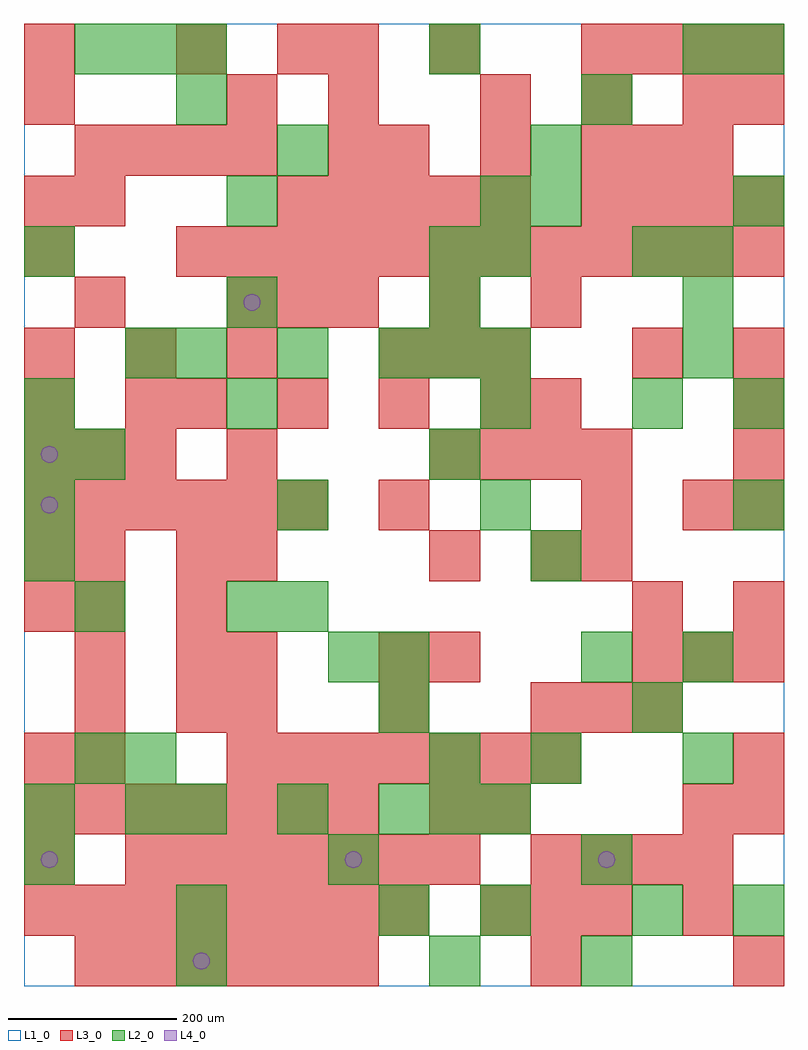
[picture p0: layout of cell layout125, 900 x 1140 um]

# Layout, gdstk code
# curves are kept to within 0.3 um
import gdstk
lib = gdstk.Library(unit=1e-6, precision=1e-09)
def R(c, l, rs):  # rectangles x0, y0, x1, y1
    for r in rs: c.add(gdstk.rectangle(r[:2], r[2:], *l))
def A(c, l, x, y, w, h, nx, ny, dx, dy):  # array of equal rectangles
    R(c, l, [(x+i*dx, y+j*dy, x+i*dx+w, y+j*dy+h) for i in range(nx) for j in range(ny)])
def P(c, l, *ps):  # polygons
    for p in ps: c.add(gdstk.Polygon(p, *l))
L1_0 = (1, 0)
L2_0 = (2, 0)
L3_0 = (3, 0)
L4_0 = (4, 0)

layout125 = lib.new_cell('layout125')
R(layout125, L1_0, [(0,0,900,1140)])
A(layout125, L2_0, 180, 180, 60, 60, 3, 2, 120, 540)
A(layout125, L2_0, 60, 240, 60, 60, 1, 3, 0, 180)
A(layout125, L2_0, 0, 480, 60, 60, 1, 4, 0, 60)
A(layout125, L2_0, 240, 660, 60, 60, 1, 3, 0, 120)
A(layout125, L2_0, 480, 720, 60, 60, 1, 3, 0, 60)
A(layout125, L2_0, 780, 720, 60, 60, 1, 3, 0, 60)
A(layout125, L2_0, 60, 1080, 60, 60, 3, 1, 60, 0)
R(layout125, L2_0, [(180,0,240,60), (480,0,540,60), (660,0,720,60), (180,60,240,120), (420,60,480,120), (540,60,600,120), (720,60,780,120), (840,60,900,120), (0,120,60,180), (360,120,420,180), (660,120,720,180), (0,180,60,240), (120,180,180,240), (480,180,540,240), (540,180,600,240), (120,240,180,300), (480,240,540,300), (600,240,660,300), (780,240,840,300), (420,300,480,360), (720,300,780,360), (360,360,420,420), (420,360,480,420), (660,360,720,420), (780,360,840,420), (240,420,300,480), (300,420,360,480), (600,480,660,540), (300,540,360,600), (540,540,600,600), (840,540,900,600), (480,600,540,660), (540,660,600,720), (720,660,780,720), (840,660,900,720), (120,720,180,780), (540,720,600,780), (0,840,60,900), (540,840,600,900), (720,840,780,900), (540,900,600,960), (600,900,660,960), (840,900,900,960), (300,960,360,1020), (600,960,660,1020), (180,1020,240,1080), (660,1020,720,1080), (480,1080,540,1140), (780,1080,840,1140), (840,1080,900,1140)])
A(layout125, L3_0, 60, 0, 60, 60, 6, 1, 60, 0)
A(layout125, L3_0, 0, 60, 60, 60, 8, 1, 60, 0)
A(layout125, L3_0, 540, 60, 60, 60, 3, 1, 60, 0)
A(layout125, L3_0, 120, 120, 60, 60, 7, 1, 60, 0)
A(layout125, L3_0, 600, 120, 60, 60, 4, 1, 60, 0)
A(layout125, L3_0, 0, 180, 60, 60, 7, 1, 60, 0)
A(layout125, L3_0, 60, 240, 60, 60, 1, 5, 0, 60)
A(layout125, L3_0, 240, 240, 60, 60, 7, 1, 60, 0)
A(layout125, L3_0, 180, 300, 60, 60, 1, 4, 0, 60)
A(layout125, L3_0, 240, 300, 60, 60, 3, 1, 180, 0)
A(layout125, L3_0, 240, 360, 60, 60, 1, 3, 0, 120)
A(layout125, L3_0, 720, 360, 60, 60, 3, 1, 60, 0)
A(layout125, L3_0, 0, 480, 60, 60, 1, 3, 0, 180)
A(layout125, L3_0, 480, 480, 60, 60, 1, 3, 0, 300)
A(layout125, L3_0, 0, 540, 60, 60, 6, 1, 60, 0)
A(layout125, L3_0, 840, 540, 60, 60, 1, 4, 0, 60)
A(layout125, L3_0, 0, 600, 60, 60, 3, 1, 60, 0)
A(layout125, L3_0, 480, 600, 60, 60, 4, 1, 60, 0)
A(layout125, L3_0, 180, 660, 60, 60, 4, 1, 120, 0)
A(layout125, L3_0, 0, 720, 60, 60, 3, 1, 120, 0)
A(layout125, L3_0, 420, 720, 60, 60, 3, 1, 60, 0)
A(layout125, L3_0, 240, 780, 60, 60, 3, 1, 60, 0)
A(layout125, L3_0, 180, 840, 60, 60, 12, 1, 60, 0)
A(layout125, L3_0, 300, 900, 60, 60, 5, 1, 60, 0)
A(layout125, L3_0, 660, 900, 60, 60, 4, 2, 60, 180)
A(layout125, L3_0, 60, 960, 60, 60, 4, 1, 60, 0)
A(layout125, L3_0, 360, 960, 60, 60, 1, 3, 0, 60)
A(layout125, L3_0, 420, 960, 60, 60, 3, 1, 120, 0)
A(layout125, L3_0, 540, 1020, 60, 60, 3, 1, 120, 0)
R(layout125, L3_0, [(600,0,660,60), (840,0,900,60), (780,60,840,120), (0,120,60,180), (480,180,540,240), (540,180,600,240), (780,180,840,240), (840,180,900,240), (0,240,60,300), (840,240,900,300), (660,300,720,360), (720,300,780,360), (420,360,480,420), (480,360,540,420), (0,420,60,480), (720,420,780,480), (840,420,900,480), (600,480,660,540), (660,480,720,540), (420,540,480,600), (660,540,720,600), (780,540,840,600), (120,660,180,720), (600,660,660,720), (720,720,780,780), (60,780,120,840), (600,780,660,840), (0,900,60,960), (60,900,120,960), (720,960,780,1020), (780,960,840,1020), (0,1020,60,1080), (240,1020,300,1080), (840,1020,900,1080), (0,1080,60,1140), (180,1080,240,1140), (300,1080,360,1140)])
P(layout125, L4_0, [(40,150),(39.239,153.827),(37.071,157.071),(33.827,159.239),(30,160),(26.173,159.239),(22.929,157.071),(20.761,153.827),(20,150),(20.761,146.173),(22.929,142.929),(26.173,140.761),(30,140),(33.827,140.761),(37.071,142.929),(39.239,146.173)],
  [(40,570),(39.239,573.827),(37.071,577.071),(33.827,579.239),(30,580),(26.173,579.239),(22.929,577.071),(20.761,573.827),(20,570),(20.761,566.173),(22.929,562.929),(26.173,560.761),(30,560),(33.827,560.761),(37.071,562.929),(39.239,566.173)],
  [(40,630),(39.239,633.827),(37.071,637.071),(33.827,639.239),(30,640),(26.173,639.239),(22.929,637.071),(20.761,633.827),(20,630),(20.761,626.173),(22.929,622.929),(26.173,620.761),(30,620),(33.827,620.761),(37.071,622.929),(39.239,626.173)],
  [(220,30),(219.239,33.827),(217.071,37.071),(213.827,39.239),(210,40),(206.173,39.239),(202.929,37.071),(200.761,33.827),(200,30),(200.761,26.173),(202.929,22.929),(206.173,20.761),(210,20),(213.827,20.761),(217.071,22.929),(219.239,26.173)],
  [(280,810),(279.239,813.827),(277.071,817.071),(273.827,819.239),(270,820),(266.173,819.239),(262.929,817.071),(260.761,813.827),(260,810),(260.761,806.173),(262.929,802.929),(266.173,800.761),(270,800),(273.827,800.761),(277.071,802.929),(279.239,806.173)],
  [(400,150),(399.239,153.827),(397.071,157.071),(393.827,159.239),(390,160),(386.173,159.239),(382.929,157.071),(380.761,153.827),(380,150),(380.761,146.173),(382.929,142.929),(386.173,140.761),(390,140),(393.827,140.761),(397.071,142.929),(399.239,146.173)],
  [(700,150),(699.239,153.827),(697.071,157.071),(693.827,159.239),(690,160),(686.173,159.239),(682.929,157.071),(680.761,153.827),(680,150),(680.761,146.173),(682.929,142.929),(686.173,140.761),(690,140),(693.827,140.761),(697.071,142.929),(699.239,146.173)])

lib.write_gds('layout125.gds')
